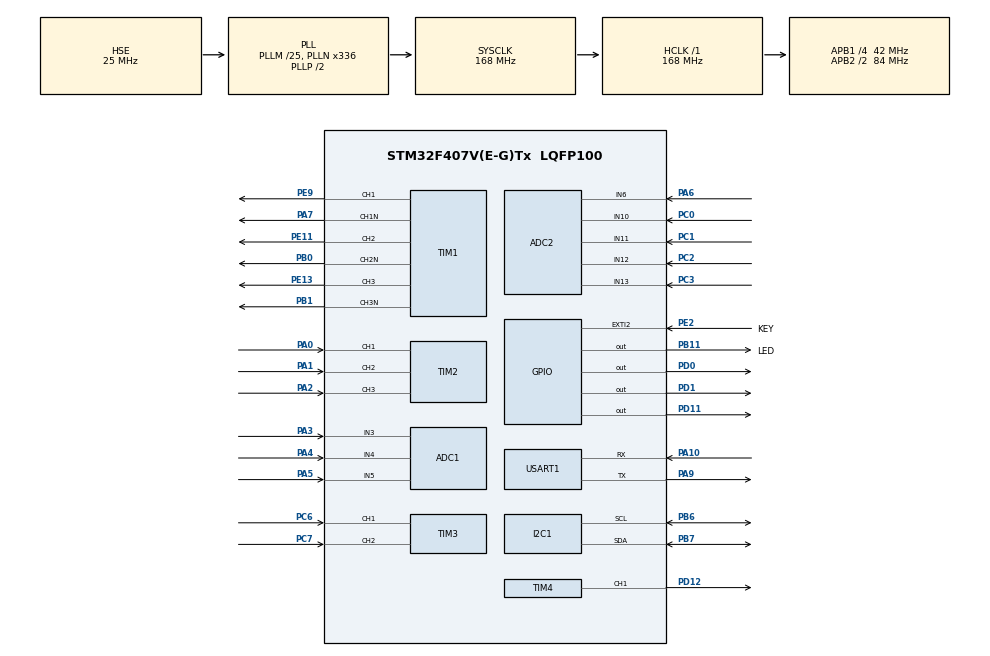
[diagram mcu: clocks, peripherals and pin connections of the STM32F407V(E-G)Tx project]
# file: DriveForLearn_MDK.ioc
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ADC1.Channel-1\#ChannelRegularConversion=ADC_CHANNEL_3
ADC1.NbrOfConversionFlag=1
ADC1.Rank-1\#ChannelRegularConversion=1
ADC1.SamplingTime-1\#ChannelRegularConversion=ADC_SAMPLETIME_3CYCLES
ADC1.master=1
ADC2.Channel-0\#ChannelRegularConversion=ADC_CHANNEL_6
ADC2.NbrOfConversionFlag=1
ADC2.Rank-0\#ChannelRegularConversion=1
ADC2.SamplingTime-0\#ChannelRegularConversion=ADC_SAMPLETIME_3CYCLES
Mcu.Family=STM32F4
Mcu.Name=STM32F407V(E-G)Tx
Mcu.Package=LQFP100
NVIC.EXTI2_IRQn=true\:10\:0\:true\:false\:true\:true\:true\:true
NVIC.PriorityGroup=NVIC_PRIORITYGROUP_4
NVIC.TIM5_IRQn=true\:15\:0\:false\:false\:true\:false\:true\:true
NVIC.TIM6_DAC_IRQn=true\:11\:0\:true\:false\:true\:true\:true\:true
NVIC.TimeBase=TIM5_IRQn
NVIC.TimeBaseIP=TIM5
PA0-WKUP.Signal=S_TIM2_CH1_ETR
PA1.Signal=S_TIM2_CH2
PA10.Mode=Asynchronous
PA10.Signal=USART1_RX
PA13.Mode=Serial_Wire
PA13.Signal=SYS_JTMS-SWDIO
PA14.Mode=Serial_Wire
PA14.Signal=SYS_JTCK-SWCLK
PA2.Signal=S_TIM2_CH3
PA3.Signal=ADCx_IN3
PA4.Signal=ADCx_IN4
PA5.Signal=ADCx_IN5
PA6.Signal=ADCx_IN6
PA7.Mode=Output Compare1 CH1 CH1N
PA7.Signal=TIM1_CH1N
PA9.Mode=Asynchronous
PA9.Signal=USART1_TX
PB0.Mode=Output Compare2 CH2 CH2N
PB0.Signal=TIM1_CH2N
PB1.Mode=Output Compare3 CH3 CH3N
PB1.Signal=TIM1_CH3N
PB11.GPIO_Label=LED
PB11.PinState=GPIO_PIN_SET
PB11.Signal=GPIO_Output
PB6.Mode=I2C
PB6.Signal=I2C1_SCL
PB7.Mode=I2C
PB7.Signal=I2C1_SDA
PC0.Signal=ADCx_IN10
PC1.Signal=ADCx_IN11
PC2.Signal=ADCx_IN12
PC3.Signal=ADCx_IN13
PC6.Signal=S_TIM3_CH1
PC7.Signal=S_TIM3_CH2
PD0.Signal=GPIO_Output
PD1.Signal=GPIO_Output
PD11.Signal=GPIO_Output
PD12.Signal=S_TIM4_CH1
PE11.Signal=S_TIM1_CH2
PE13.Signal=S_TIM1_CH3
PE2.GPIO_Label=KEY
PE2.GPIO_ModeDefaultEXTI=GPIO_MODE_IT_FALLING
PE2.GPIO_PuPd=GPIO_PULLUP
PE2.Signal=GPXTI2
PE9.Signal=S_TIM1_CH1
PH0-OSC_IN.Mode=HSE-External-Oscillator
PH0-OSC_IN.Signal=RCC_OSC_IN
PH1-OSC_OUT.Mode=HSE-External-Oscillator
PH1-OSC_OUT.Signal=RCC_OSC_OUT
ProjectManager.HeapSize=0x200
ProjectManager.StackSize=0x400
ProjectManager.TargetToolchain=MDK-ARM V5.32
RCC.48MHZClocksFreq_Value=84000000
RCC.AHBFreq_Value=168000000
RCC.APB1CLKDivider=RCC_HCLK_DIV4
RCC.APB1Freq_Value=42000000
RCC.APB1TimFreq_Value=84000000
RCC.APB2CLKDivider=RCC_HCLK_DIV2
RCC.APB2Freq_Value=84000000
RCC.APB2TimFreq_Value=168000000
RCC.CortexFreq_Value=168000000
RCC.HCLKFreq_Value=168000000
RCC.HSE_VALUE=25000000
RCC.HSI_VALUE=16000000
RCC.LSE_VALUE=32768
RCC.PLLM=25
RCC.PLLN=336
RCC.PLLSourceVirtual=RCC_PLLSOURCE_HSE
RCC.SYSCLKFreq_VALUE=168000000
RCC.SYSCLKSource=RCC_SYSCLKSOURCE_PLLCLK
RCC.VCOOutputFreq_Value=336000000
SH.ADCx_IN10.0=ADC2_IN10,IN10
SH.ADCx_IN11.0=ADC2_IN11,IN11
SH.ADCx_IN12.0=ADC2_IN12,IN12
SH.ADCx_IN13.0=ADC2_IN13,IN13
SH.ADCx_IN3.0=ADC1_IN3,IN3
SH.ADCx_IN4.0=ADC1_IN4,IN4
SH.ADCx_IN5.0=ADC1_IN5,IN5
SH.ADCx_IN6.0=ADC2_IN6,IN6
SH.S_TIM1_CH1.0=TIM1_CH1,Output Compare1 CH1 CH1N
SH.S_TIM1_CH2.0=TIM1_CH2,Output Compare2 CH2 CH2N
SH.S_TIM1_CH3.0=TIM1_CH3,Output Compare3 CH3 CH3N
SH.S_TIM2_CH1_ETR.0=TIM2_CH1,Xored_Inputs_Hall_Sensor_Interface
SH.S_TIM2_CH2.0=TIM2_CH2,Xored_Inputs_Hall_Sensor_Interface
SH.S_TIM2_CH3.0=TIM2_CH3,Xored_Inputs_Hall_Sensor_Interface
SH.S_TIM3_CH1.0=TIM3_CH1,Encoder_Interface
SH.S_TIM3_CH2.0=TIM3_CH2,Encoder_Interface
SH.S_TIM4_CH1.0=TIM4_CH1,PWM Generation1 CH1
TIM1.Channel-Output\ Compare1\ CH1\ CH1N=TIM_CHANNEL_1
TIM1.Channel-Output\ Compare2\ CH2\ CH2N=TIM_CHANNEL_2
TIM1.Channel-Output\ Compare3\ CH3\ CH3N=TIM_CHANNEL_3
TIM3.EncoderMode=TIM_ENCODERMODE_TI12
TIM3.IC1Filter=10
TIM3.IC2Filter=10
TIM4.Channel-PWM\ Generation1\ CH1=TIM_CHANNEL_1
TIM4.Period=99
TIM4.Prescaler=84-1
TIM4.Pulse-PWM\ Generation1\ CH1=1
TIM6.AutoReloadPreload=TIM_AUTORELOAD_PRELOAD_DISABLE
TIM6.Period=10000-1
TIM6.Prescaler=84-1
USART1.VirtualMode=VM_ASYNC
VP_SYS_VS_tim5.Mode=TIM5
VP_TIM4_VS_ClockSourceINT.Mode=Internal
VP_TIM6_VS_ClockSourceINT.Mode=Enable_Timer
board=custom

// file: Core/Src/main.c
/* USER CODE BEGIN Header */
/**
  ******************************************************************************
  * @file           : main.c
  * @brief          : Main program body
  ******************************************************************************
  * @attention
  *
  * Copyright (c) 2024 STMicroelectronics.
  * All rights reserved.
  *
  * This software is licensed under terms that can be found in the LICENSE file
  * in the root directory of this software component.
  * If no LICENSE file comes with this software, it is provided AS-IS.
  *
  ******************************************************************************
  */
/* USER CODE END Header */
#include "main.h"
#include "adc.h"
#include "i2c.h"
#include "tim.h"
#include "usart.h"
#include "gpio.h"

/* USER CODE BEGIN Includes */
#include "bsp.h"
/* USER CODE END Includes */

/* USER CODE BEGIN PV */
unsigned short motor_speed =0;
unsigned char speed_dir =0;
/* USER CODE END PV */

void SystemClock_Config(void);

int main(void)
{

  /* MCU Configuration--------------------------------------------------------*/

  /* Reset of all peripherals, Initializes the Flash interface and the Systick. */
  HAL_Init();

  /* Configure the system clock */
  SystemClock_Config();

  /* Initialize all configured peripherals */
  MX_GPIO_Init();
  MX_I2C1_Init();
  MX_TIM1_Init();
  MX_TIM2_Init();
  MX_TIM3_Init();
  MX_TIM4_Init();
  MX_USART1_UART_Init();
  MX_ADC1_Init();
  MX_ADC2_Init();
  MX_TIM6_Init();
  /* USER CODE BEGIN 2 */

  printf("hclk is %dMhz,sysclk is %dMhz \r\n",HAL_RCC_GetHCLKFreq()/1000000,HAL_RCC_GetSysClockFreq()/1000000);
  HAL_TIM_Base_Start_IT(&htim6);  //定时器中断需要手动打�??
	brushmotor_init();
	HAL_TIM_PWM_Start(&htim4,TIM_CHANNEL_1);

	HAL_TIM_Encoder_Start(&htim3,TIM_CHANNEL_ALL);
	HAL_TIM_Base_Start(&htim3);
  printf("app is run .....\r\n");

  /* USER CODE END 2 */

  /* Infinite loop */
  /* USER CODE BEGIN WHILE */
  while (1)
  {
		if(HAL_GetTick()%1000 == 0)
		{
			HAL_Delay(1);
			HAL_GPIO_TogglePin(LED_GPIO_Port,LED_Pin);
      printf("encode val = %d\r\n",__HAL_TIM_GET_COUNTER(&htim3));
		}

    /* USER CODE END WHILE */

  }
}

void SystemClock_Config(void)
{
  RCC_OscInitTypeDef RCC_OscInitStruct = {0};
  RCC_ClkInitTypeDef RCC_ClkInitStruct = {0};

  /** Configure the main internal regulator output voltage
  */
  __HAL_RCC_PWR_CLK_ENABLE();
  __HAL_PWR_VOLTAGESCALING_CONFIG(PWR_REGULATOR_VOLTAGE_SCALE1);

  /** Initializes the RCC Oscillators according to the specified parameters
  * in the RCC_OscInitTypeDef structure.
  */
  RCC_OscInitStruct.OscillatorType = RCC_OSCILLATORTYPE_HSE;
  RCC_OscInitStruct.HSEState = RCC_HSE_ON;
  RCC_OscInitStruct.PLL.PLLState = RCC_PLL_ON;
  RCC_OscInitStruct.PLL.PLLSource = RCC_PLLSOURCE_HSE;
  RCC_OscInitStruct.PLL.PLLM = 25;
  RCC_OscInitStruct.PLL.PLLN = 336;
  RCC_OscInitStruct.PLL.PLLP = RCC_PLLP_DIV2;
  RCC_OscInitStruct.PLL.PLLQ = 4;
  if (HAL_RCC_OscConfig(&RCC_OscInitStruct) != HAL_OK)
  {
    Error_Handler();
  }

  /** Initializes the CPU, AHB and APB buses clocks
  */
  RCC_ClkInitStruct.ClockType = RCC_CLOCKTYPE_HCLK|RCC_CLOCKTYPE_SYSCLK
                              |RCC_CLOCKTYPE_PCLK1|RCC_CLOCKTYPE_PCLK2;
  RCC_ClkInitStruct.SYSCLKSource = RCC_SYSCLKSOURCE_PLLCLK;
  RCC_ClkInitStruct.AHBCLKDivider = RCC_SYSCLK_DIV1;
  RCC_ClkInitStruct.APB1CLKDivider = RCC_HCLK_DIV4;
  RCC_ClkInitStruct.APB2CLKDivider = RCC_HCLK_DIV2;

  if (HAL_RCC_ClockConfig(&RCC_ClkInitStruct, FLASH_LATENCY_5) != HAL_OK)
  {
    Error_Handler();
  }
}

/* USER CODE BEGIN 4 */
static unsigned char  Key_ElimJitter_Timer = 0;
static unsigned char  Key_Check_Peroid = 0;
static unsigned short Key_Press_Time = 0;

void HAL_GPIO_EXTI_Callback(uint16_t GPIO_Pin)
{
	Key_ElimJitter_Timer = 20;
	Key_Check_Peroid = 0;
	Key_Press_Time = 0;
}

/* USER CODE END 4 */

void HAL_TIM_PeriodElapsedCallback(TIM_HandleTypeDef *htim)
{
  /* USER CODE BEGIN Callback 0 */
    if (htim->Instance == TIM3)  //编码�?
    {

    }
  /* USER CODE END Callback 0 */
  if (htim->Instance == TIM5) {
    HAL_IncTick();
  }
  /* USER CODE BEGIN Callback 1 */
  if (htim->Instance == TIM6) {
		if(Key_ElimJitter_Timer)
		{
			Key_ElimJitter_Timer-=10;
			if(!Key_ElimJitter_Timer)
			{
				if(HAL_GPIO_ReadPin(KEY_GPIO_Port,KEY_Pin) == RESET)
				{
          printf("motor speed is %d,speed_dir is %d\r\n",motor_speed,speed_dir);

          if(motor_speed==0 && speed_dir!=1)
          {
            speed_dir = 0; //加�??
            speed_dir == 0?(motor_speed+=10):(motor_speed-=10);
            brushmotor_set_speed(motor_speed);
          }
           else if(motor_speed<100)
           {
              if(motor_speed <= 10 && speed_dir ==1)
              {
                brushmotor_stop();
                speed_dir =0;
                motor_speed=0;
              }
              speed_dir == 0?(motor_speed+=10):(motor_speed-=10);
              brushmotor_set_speed(motor_speed);
           }
           else
           {
              speed_dir = 1; //减�??
              motor_speed-=10;
              brushmotor_set_speed(motor_speed);
           }

				}
			}
		}
  }

  /* USER CODE END Callback 1 */
}

void Error_Handler(void)
{
  __disable_irq();
  while (1)
  {
  }
}
